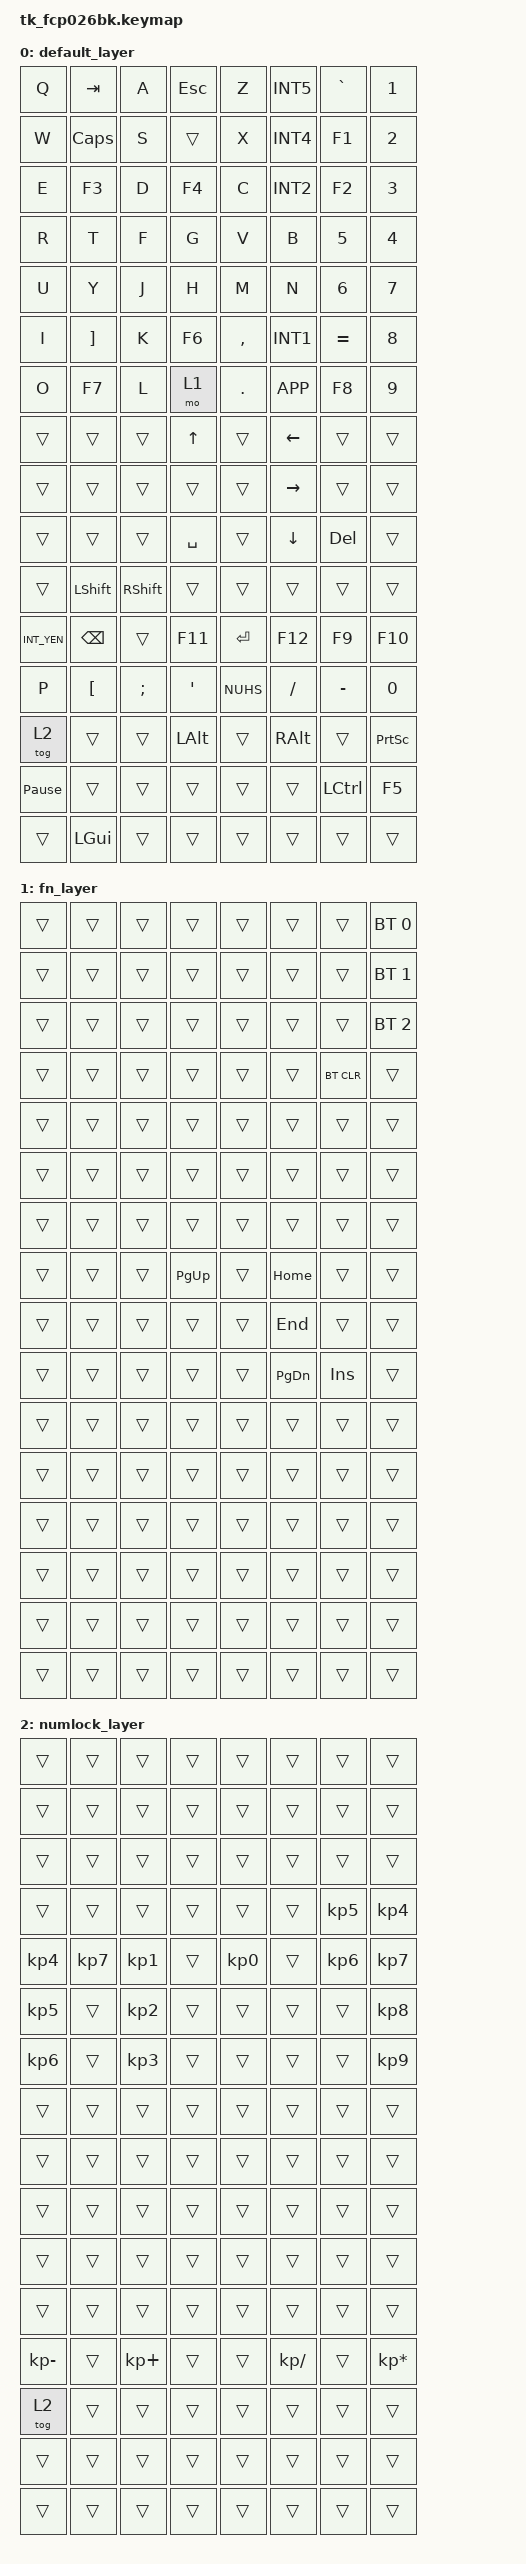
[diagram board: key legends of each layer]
/*
 * TK-FCP026BK Keymap v8
 * 86キー 日本語配列
 * 新配線: Col=XIAO(D0-D3,D7-D10)、Row=MCP23017(GPA0-7,GPB0-7)
 *
 * bindingsの並び順: Row行優先 16行×8列=128エントリ
 *
 * レイヤー構成:
 *   Layer 0: default_layer  … 通常入力
 *   Layer 1: fn_layer       … FNキー押しっぱなし中
 *   Layer 2: numlock_layer  … NumLockキーでトグル（テンキー入力）
 *
 * 変更点 (v8):
 *   - NumLockキー(&tog 2)でnumlock_layerをトグル
 *   - numlock_layer追加（m→KP_N0、j→KP_N1、k→KP_N2、l→KP_N3、
 *                        u→KP_N4、i→KP_N5、o→KP_N6、7→KP_N7、
 *                        8→KP_N8、9→KP_N9、/→KP_SLASH、;→KP_PLUS、
 *                        p→KP_MINUS、0→KP_MULTIPLY）
 *   - fn_layer: BT_CLRをfn+5に移動、fn+DelにInsを割り当て
 */

#include <behaviors.dtsi>
#include <dt-bindings/zmk/keys.h>
#include <dt-bindings/zmk/bt.h>

/ {
    keymap {
        compatible = "zmk,keymap";

        default_layer {
            bindings = <
/* Col:           D0                D1                D2                D3                D7                D8                D9                D10           */
/* Row0  GPA0 */ &kp Q             &kp TAB           &kp A             &kp ESC           &kp Z             &kp INT5          &kp GRAVE         &kp N1            /* q        tab      a        esc      z        muhenka  zenkaku  1       */
/* Row1  GPA1 */ &kp W             &kp CAPS          &kp S             &trans            &kp X             &kp INT4          &kp F1            &kp N2            /* w        caps     s        ---      x        henkan   f1       2       */
/* Row2  GPA2 */ &kp E             &kp F3            &kp D             &kp F4            &kp C             &kp INT2          &kp F2            &kp N3            /* e        f3       d        f4       c        kana     f2       3       */
/* Row3  GPA3 */ &kp R             &kp T             &kp F             &kp G             &kp V             &kp B             &kp N5            &kp N4            /* r        t        f        g        v        b        5        4       */
/* Row4  GPA4 */ &kp U             &kp Y             &kp J             &kp H             &kp M             &kp N             &kp N6            &kp N7            /* u        y        j        h        m        n        6        7       */
/* Row5  GPA5 */ &kp I             &kp RBKT          &kp K             &kp F6            &kp COMMA         &kp INT1          &kp EQUAL         &kp N8            /* i        lbracke  k        f6       comma    bslash   caret    8       */
/* Row6  GPA6 */ &kp O             &kp F7            &kp L             &mo 1             &kp DOT           &kp K_APP         &kp F8            &kp N9            /* o        f7       l        fn       dot      menu     f8       9       */
/* Row7  GPA7 */ &trans            &trans            &trans            &kp UP            &trans            &kp LEFT          &trans            &trans            /* ---      ---      ---      up       ---      left     ---      ---     */
/* Row8  GPB0 */ &trans            &trans            &trans            &trans            &trans            &kp RIGHT         &trans            &trans            /* ---      ---      ---      ---      ---      right    ---      ---     */
/* Row9  GPB1 */ &trans            &trans            &trans            &kp SPACE         &trans            &kp DOWN          &kp DEL           &trans            /* ---      ---      ---      space    ---      down     del      ---     */
/* Row10 GPB2 */ &trans            &kp LSHFT         &kp RSHFT         &trans            &trans            &trans            &trans            &trans            /* ---      lshift   rshift   ---      ---      ---      ---      ---     */
/* Row11 GPB3 */ &kp INT_YEN       &kp BSPC          &trans            &kp F11           &kp RET           &kp F12           &kp F9            &kp F10           /* yen      back     ---      f11      enter    f12      f9       f10     */
/* Row12 GPB4 */ &kp P             &kp LBKT          &kp SEMI          &kp QUOT          &kp NUHS          &kp FSLH          &kp MINUS         &kp N0            /* p        at       semi     colon    rbracke  slash    minus    0       */
/* Row13 GPB5 */ &tog 2            &trans            &trans            &kp LALT          &trans            &kp RALT          &trans            &kp PSCRN         /* numlock  ---      ---      lalt     ---      ralt     ---      prtsc   */
/* Row14 GPB6 */ &kp PAUSE_BREAK   &trans            &trans            &trans            &trans            &trans            &kp LCTRL         &kp F5            /* pause    ---      ---      ---      ---      ---      lctrl    f5      */
/* Row15 GPB7 */ &trans            &kp LGUI          &trans            &trans            &trans            &trans            &trans            &trans            /* ---      win      ---      ---      ---      ---      ---      ---     */
            >;
        };

        fn_layer {
            bindings = <
/* Col:           D0                D1                D2                D3                D7                D8                D9                D10           */
/* Row0  GPA0 */ &trans            &trans            &trans            &trans            &trans            &trans            &trans            &bt BT_SEL 0
/* Row1  GPA1 */ &trans            &trans            &trans            &trans            &trans            &trans            &trans            &bt BT_SEL 1
/* Row2  GPA2 */ &trans            &trans            &trans            &trans            &trans            &trans            &trans            &bt BT_SEL 2
/* Row3  GPA3 */ &trans            &trans            &trans            &trans            &trans            &trans            &bt BT_CLR        &trans          /* fn+5=BT_CLR */
/* Row4  GPA4 */ &trans            &trans            &trans            &trans            &trans            &trans            &trans            &trans
/* Row5  GPA5 */ &trans            &trans            &trans            &trans            &trans            &trans            &trans            &trans
/* Row6  GPA6 */ &trans            &trans            &trans            &trans            &trans            &trans            &trans            &trans
/* Row7  GPA7 */ &trans            &trans            &trans            &kp PG_UP         &trans            &kp HOME          &trans            &trans
/* Row8  GPB0 */ &trans            &trans            &trans            &trans            &trans            &kp END           &trans            &trans
/* Row9  GPB1 */ &trans            &trans            &trans            &trans            &trans            &kp PG_DN         &kp INS           &trans          /* fn+Del=Ins */
/* Row10 GPB2 */ &trans            &trans            &trans            &trans            &trans            &trans            &trans            &trans
/* Row11 GPB3 */ &trans            &trans            &trans            &trans            &trans            &trans            &trans            &trans
/* Row12 GPB4 */ &trans            &trans            &trans            &trans            &trans            &trans            &trans            &trans
/* Row13 GPB5 */ &trans            &trans            &trans            &trans            &trans            &trans            &trans            &trans
/* Row14 GPB6 */ &trans            &trans            &trans            &trans            &trans            &trans            &trans            &trans
/* Row15 GPB7 */ &trans            &trans            &trans            &trans            &trans            &trans            &trans            &trans
            >;
        };

        numlock_layer {
            bindings = <
/* Col:           D0                D1                D2                D3                D7                D8                D9                D10           */
/* Row0  GPA0 */ &trans            &trans            &trans            &trans            &trans            &trans            &trans            &trans
/* Row1  GPA1 */ &trans            &trans            &trans            &trans            &trans            &trans            &trans            &trans
/* Row2  GPA2 */ &trans            &trans            &trans            &trans            &trans            &trans            &trans            &trans
/* Row3  GPA3 */ &trans            &trans            &trans            &trans            &trans            &trans            &kp KP_N5         &kp KP_N4         /* 5→KP5  4→KP4 */
/* Row4  GPA4 */ &kp KP_N4         &kp KP_N7         &kp KP_N1         &trans            &kp KP_N0         &trans            &kp KP_N6         &kp KP_N7         /* u→KP4  y→KP7   j→KP1        m→KP0         6→KP6       7→KP7 */
/* Row5  GPA5 */ &kp KP_N5         &trans            &kp KP_N2         &trans            &trans            &trans            &trans            &kp KP_N8         /* i→KP5           k→KP2                                    8→KP8 */
/* Row6  GPA6 */ &kp KP_N6         &trans            &kp KP_N3         &trans            &trans            &trans            &trans            &kp KP_N9         /* o→KP6           l→KP3                                    9→KP9 */
/* Row7  GPA7 */ &trans            &trans            &trans            &trans            &trans            &trans            &trans            &trans
/* Row8  GPB0 */ &trans            &trans            &trans            &trans            &trans            &trans            &trans            &trans
/* Row9  GPB1 */ &trans            &trans            &trans            &trans            &trans            &trans            &trans            &trans
/* Row10 GPB2 */ &trans            &trans            &trans            &trans            &trans            &trans            &trans            &trans
/* Row11 GPB3 */ &trans            &trans            &trans            &trans            &trans            &trans            &trans            &trans
/* Row12 GPB4 */ &kp KP_MINUS      &trans            &kp KP_PLUS       &trans            &trans            &kp KP_SLASH      &trans            &kp KP_MULTIPLY   /* p→KP_MINUS      ;→KP_PLUS       /→KP_SLASH        0→KP_MULTIPLY */
/* Row13 GPB5 */ &tog 2            &trans            &trans            &trans            &trans            &trans            &trans            &trans            /* numlock再押し=レイヤー解除 */
/* Row14 GPB6 */ &trans            &trans            &trans            &trans            &trans            &trans            &trans            &trans
/* Row15 GPB7 */ &trans            &trans            &trans            &trans            &trans            &trans            &trans            &trans
            >;
        };
    };
};
